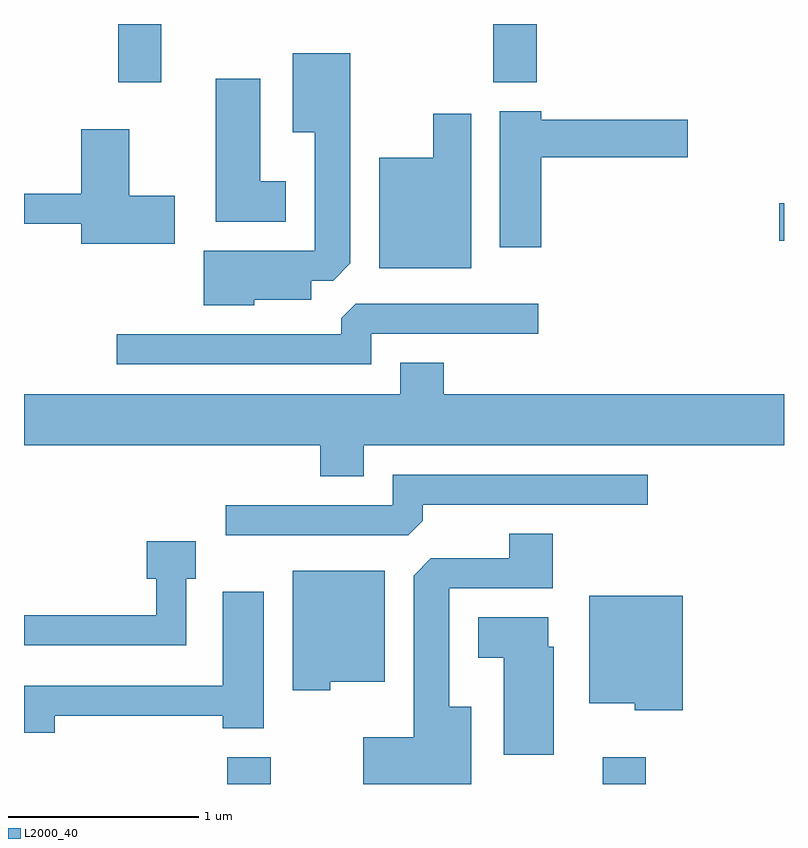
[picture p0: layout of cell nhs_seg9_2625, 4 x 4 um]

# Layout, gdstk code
import gdstk
lib = gdstk.Library(unit=1e-6, precision=1e-09)
def R(c, l, rs):  # rectangles x0, y0, x1, y1
    for r in rs: c.add(gdstk.rectangle(r[:2], r[2:], *l))
def P(c, l, *ps):  # polygons
    for p in ps: c.add(gdstk.Polygon(p, *l))
L2000_40 = (2000, 40)

nhs_seg9_2625 = lib.new_cell('nhs_seg9_2625')
R(nhs_seg9_2625, L2000_40, [(262.681,2034.432,262.909,2034.574), (264.656,2034.432,264.884,2034.574), (265.586,2037.291,265.611,2037.489), (262.106,2038.126,262.334,2038.432), (264.081,2038.126,264.309,2038.432)])
P(nhs_seg9_2625, L2000_40, [(262.824,2036.981),(263.124,2036.981),(263.124,2037.081),(263.239,2037.081),(263.329,2037.172),(263.329,2038.279),(263.026,2038.279),(263.026,2037.861),(263.141,2037.861),(263.141,2037.239),(262.556,2037.239),(262.556,2036.951),(262.824,2036.951)],
  [(262.989,2037.604),(262.854,2037.604),(262.854,2038.144),(262.621,2038.144),(262.621,2037.391),(262.989,2037.391)],
  [(264.334,2037.731),(265.104,2037.731),(265.104,2037.929),(264.334,2037.929),(264.334,2037.974),(264.116,2037.974),(264.116,2037.256),(264.334,2037.256)],
  [(263.964,2037.959),(263.766,2037.959),(263.766,2037.729),(263.481,2037.729),(263.481,2037.146),(263.964,2037.146)],
  [(262.404,2037.529),(262.164,2037.529),(262.164,2037.879),(261.911,2037.879),(261.911,2037.539),(261.611,2037.539),(261.611,2037.381),(261.911,2037.381),(261.911,2037.276),(262.404,2037.276)],
  [(263.439,2036.801),(264.318,2036.801),(264.318,2036.959),(263.357,2036.959),(263.281,2036.884),(263.281,2036.799),(262.098,2036.799),(262.098,2036.641),(263.439,2036.641)],
  [(263.399,2036.216),(265.611,2036.216),(265.611,2036.484),(263.819,2036.484),(263.819,2036.649),(263.591,2036.649),(263.591,2036.484),(261.611,2036.484),(261.611,2036.216),(263.171,2036.216),(263.171,2036.051),(263.399,2036.051)],
  [(263.709,2035.817),(263.709,2035.901),(264.893,2035.901),(264.893,2036.059),(263.551,2036.059),(263.551,2035.899),(262.673,2035.899),(262.673,2035.741),(263.634,2035.741)],
  [(263.964,2034.839),(263.849,2034.839),(263.849,2035.461),(264.394,2035.461),(264.394,2035.749),(264.166,2035.749),(264.166,2035.619),(263.752,2035.619),(263.661,2035.529),(263.661,2034.679),(263.396,2034.679),(263.396,2034.432),(263.964,2034.432)],
  [(262.464,2035.511),(262.514,2035.511),(262.514,2035.709),(262.256,2035.709),(262.256,2035.511),(262.306,2035.511),(262.306,2035.319),(261.611,2035.319),(261.611,2035.161),(262.464,2035.161)],
  [(263.224,2034.971),(263.509,2034.971),(263.509,2035.554),(263.026,2035.554),(263.026,2034.926),(263.224,2034.926)],
  [(261.774,2034.791),(262.656,2034.791),(262.656,2034.726),(262.874,2034.726),(262.874,2035.444),(262.656,2035.444),(262.656,2034.949),(261.611,2034.949),(261.611,2034.701),(261.774,2034.701)],
  [(265.079,2035.424),(264.586,2035.424),(264.586,2034.856),(264.826,2034.856),(264.826,2034.821),(265.079,2034.821)],
  [(264.399,2035.154),(264.369,2035.154),(264.369,2035.309),(264.001,2035.309),(264.001,2035.096),(264.136,2035.096),(264.136,2034.586),(264.399,2034.586)])

lib.write_gds('nhs_seg9_2625.gds')
